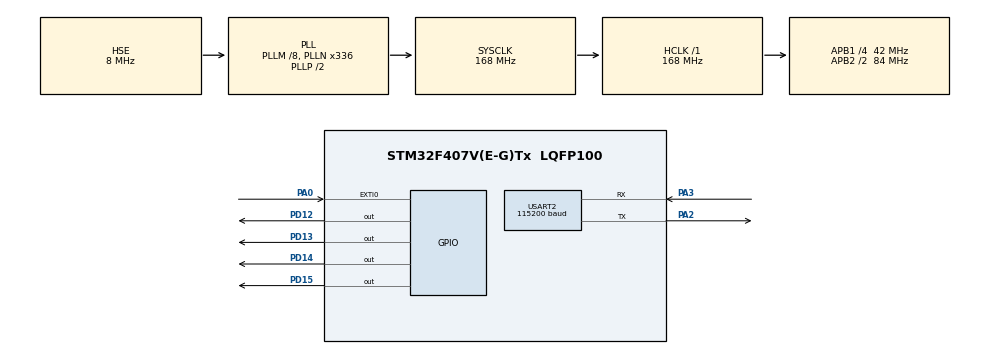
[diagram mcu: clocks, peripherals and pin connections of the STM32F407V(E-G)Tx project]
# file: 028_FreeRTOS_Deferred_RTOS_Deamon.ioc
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FREERTOS.Tasks01=defaultTask,24,128,StartDefaultTask,Default,NULL,Dynamic,NULL,NULL
FREERTOS.configUSE_NEWLIB_REENTRANT=1
Mcu.Family=STM32F4
Mcu.Name=STM32F407V(E-G)Tx
Mcu.Package=LQFP100
NVIC.EXTI0_IRQn=true\:5\:0\:false\:false\:true\:true\:true\:true\:true
NVIC.PriorityGroup=NVIC_PRIORITYGROUP_4
NVIC.TIM8_TRG_COM_TIM14_IRQn=true\:15\:0\:false\:false\:true\:false\:false\:true\:true
NVIC.TimeBase=TIM8_TRG_COM_TIM14_IRQn
NVIC.TimeBaseIP=TIM14
NVIC.USART2_IRQn=true\:5\:0\:false\:false\:true\:true\:true\:true\:true
PA0-WKUP.Signal=GPXTI0
PA2.Mode=Asynchronous
PA2.Signal=USART2_TX
PA3.Mode=Asynchronous
PA3.Signal=USART2_RX
PD12.Signal=GPIO_Output
PD13.Signal=GPIO_Output
PD14.Signal=GPIO_Output
PD15.Signal=GPIO_Output
PH0-OSC_IN.Mode=HSE-External-Oscillator
PH0-OSC_IN.Signal=RCC_OSC_IN
PH1-OSC_OUT.Mode=HSE-External-Oscillator
PH1-OSC_OUT.Signal=RCC_OSC_OUT
ProjectManager.HeapSize=0x200
ProjectManager.StackSize=0x400
ProjectManager.TargetToolchain=STM32CubeIDE
RCC.48MHZClocksFreq_Value=48000000
RCC.AHBFreq_Value=168000000
RCC.APB1CLKDivider=RCC_HCLK_DIV4
RCC.APB1Freq_Value=42000000
RCC.APB1TimFreq_Value=84000000
RCC.APB2CLKDivider=RCC_HCLK_DIV2
RCC.APB2Freq_Value=84000000
RCC.APB2TimFreq_Value=168000000
RCC.CortexFreq_Value=168000000
RCC.HCLKFreq_Value=168000000
RCC.HSE_VALUE=8000000
RCC.HSI_VALUE=16000000
RCC.LSE_VALUE=32768
RCC.PLLM=8
RCC.PLLN=336
RCC.PLLQ=7
RCC.PLLSourceVirtual=RCC_PLLSOURCE_HSE
RCC.SYSCLKFreq_VALUE=168000000
RCC.SYSCLKSource=RCC_SYSCLKSOURCE_PLLCLK
RCC.VCOOutputFreq_Value=336000000
USART2.BaudRate=115200
USART2.VirtualMode=VM_ASYNC
VP_FREERTOS_VS_CMSIS_V2.Mode=CMSIS_V2
VP_SYS_VS_tim14.Mode=TIM14
board=STM32F407G-DISC1

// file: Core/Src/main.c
/* USER CODE BEGIN Header */
/**
  ******************************************************************************
  * @file           : main.c
  * @brief          : Main program body
  ******************************************************************************
  * @attention
  *
  * Copyright (c) 2023 STMicroelectronics.
  * All rights reserved.
  *
  * This software is licensed under terms that can be found in the LICENSE file
  * in the root directory of this software component.
  * If no LICENSE file comes with this software, it is provided AS-IS.
  *
  ******************************************************************************
  */
/* USER CODE END Header */
#include "main.h"

/* USER CODE BEGIN Includes */
#include "FreeRTOS.h"
#include "task.h"
#include "queue.h"
#include <string.h>
#include <stdio.h>
#include "timers.h"
/* USER CODE END Includes */

UART_HandleTypeDef huart2;

/* Definitions for defaultTask */

void SystemClock_Config(void);
static void MX_GPIO_Init(void);
static void MX_USART2_UART_Init(void);
void StartDefaultTask(void *argument);

/* USER CODE BEGIN 0 */
static void vDeferredHandlingFunction(void *pvParameter1, uint32_t ulParameter2)
{
	char buffer[80];
	sprintf(buffer, "RTOS Deamon Handler Function - Processing event : %ld", ulParameter2);
	HAL_UART_Transmit(&huart2, (uint8_t *)buffer, strlen(buffer), HAL_MAX_DELAY);
}
void HAL_GPIO_EXTI_Callback(uint16_t GPIO_Pin)
{
  if(GPIO_Pin == GPIO_PIN_0)
  {
	  static uint32_t ulParameterValue = 0;
	  BaseType_t xHigherPriorityTaskWoken = pdFALSE;

	  xTimerPendFunctionCallFromISR(vDeferredHandlingFunction, NULL, ulParameterValue, &xHigherPriorityTaskWoken);
	  ulParameterValue++;

	  portYIELD_FROM_ISR(xHigherPriorityTaskWoken);
  }
}
/* USER CODE END 0 */

int main(void)
{

  /* MCU Configuration--------------------------------------------------------*/

  /* Reset of all peripherals, Initializes the Flash interface and the Systick. */
  HAL_Init();

  /* Configure the system clock */
  SystemClock_Config();

  /* Initialize all configured peripherals */
  MX_GPIO_Init();
  MX_USART2_UART_Init();
  /* USER CODE BEGIN 2 */
  vTaskStartScheduler();
  /* USER CODE END 2 */

  /* Init scheduler */

  /* Create the thread(s) */
  /* creation of defaultTask */

  /* Start scheduler */

  /* We should never get here as control is now taken by the scheduler */
  /* Infinite loop */
  while (1)
  {

  }
}

void SystemClock_Config(void)
{
  RCC_OscInitTypeDef RCC_OscInitStruct = {0};
  RCC_ClkInitTypeDef RCC_ClkInitStruct = {0};

  /** Configure the main internal regulator output voltage
  */
  __HAL_RCC_PWR_CLK_ENABLE();
  __HAL_PWR_VOLTAGESCALING_CONFIG(PWR_REGULATOR_VOLTAGE_SCALE1);

  /** Initializes the RCC Oscillators according to the specified parameters
  * in the RCC_OscInitTypeDef structure.
  */
  RCC_OscInitStruct.OscillatorType = RCC_OSCILLATORTYPE_HSE;
  RCC_OscInitStruct.HSEState = RCC_HSE_ON;
  RCC_OscInitStruct.PLL.PLLState = RCC_PLL_ON;
  RCC_OscInitStruct.PLL.PLLSource = RCC_PLLSOURCE_HSE;
  RCC_OscInitStruct.PLL.PLLM = 8;
  RCC_OscInitStruct.PLL.PLLN = 336;
  RCC_OscInitStruct.PLL.PLLP = RCC_PLLP_DIV2;
  RCC_OscInitStruct.PLL.PLLQ = 7;
  if (HAL_RCC_OscConfig(&RCC_OscInitStruct) != HAL_OK)
  {
    Error_Handler();
  }

  /** Initializes the CPU, AHB and APB buses clocks
  */
  RCC_ClkInitStruct.ClockType = RCC_CLOCKTYPE_HCLK|RCC_CLOCKTYPE_SYSCLK
                              |RCC_CLOCKTYPE_PCLK1|RCC_CLOCKTYPE_PCLK2;
  RCC_ClkInitStruct.SYSCLKSource = RCC_SYSCLKSOURCE_PLLCLK;
  RCC_ClkInitStruct.AHBCLKDivider = RCC_SYSCLK_DIV1;
  RCC_ClkInitStruct.APB1CLKDivider = RCC_HCLK_DIV4;
  RCC_ClkInitStruct.APB2CLKDivider = RCC_HCLK_DIV2;

  if (HAL_RCC_ClockConfig(&RCC_ClkInitStruct, FLASH_LATENCY_5) != HAL_OK)
  {
    Error_Handler();
  }
}

static void MX_USART2_UART_Init(void)
{

  huart2.Instance = USART2;
  huart2.Init.BaudRate = 115200;
  huart2.Init.WordLength = UART_WORDLENGTH_8B;
  huart2.Init.StopBits = UART_STOPBITS_1;
  huart2.Init.Parity = UART_PARITY_NONE;
  huart2.Init.Mode = UART_MODE_TX_RX;
  huart2.Init.HwFlowCtl = UART_HWCONTROL_NONE;
  huart2.Init.OverSampling = UART_OVERSAMPLING_16;
  if (HAL_UART_Init(&huart2) != HAL_OK)
  {
    Error_Handler();
  }

}

static void MX_GPIO_Init(void)
{
  GPIO_InitTypeDef GPIO_InitStruct = {0};

  /* GPIO Ports Clock Enable */
  __HAL_RCC_GPIOH_CLK_ENABLE();
  __HAL_RCC_GPIOA_CLK_ENABLE();
  __HAL_RCC_GPIOD_CLK_ENABLE();

  /*Configure GPIO pin Output Level */
  HAL_GPIO_WritePin(GPIOD, GPIO_PIN_12|GPIO_PIN_13|GPIO_PIN_14|GPIO_PIN_15, GPIO_PIN_RESET);

  /*Configure GPIO pin : PA0 */
  GPIO_InitStruct.Pin = GPIO_PIN_0;
  GPIO_InitStruct.Mode = GPIO_MODE_IT_RISING;
  GPIO_InitStruct.Pull = GPIO_NOPULL;
  HAL_GPIO_Init(GPIOA, &GPIO_InitStruct);

  /*Configure GPIO pins : PD12 PD13 PD14 PD15 */
  GPIO_InitStruct.Pin = GPIO_PIN_12|GPIO_PIN_13|GPIO_PIN_14|GPIO_PIN_15;
  GPIO_InitStruct.Mode = GPIO_MODE_OUTPUT_PP;
  GPIO_InitStruct.Pull = GPIO_NOPULL;
  GPIO_InitStruct.Speed = GPIO_SPEED_FREQ_LOW;
  HAL_GPIO_Init(GPIOD, &GPIO_InitStruct);

  /* EXTI interrupt init*/
  HAL_NVIC_SetPriority(EXTI0_IRQn, 5, 0);
  HAL_NVIC_EnableIRQ(EXTI0_IRQn);

}

void HAL_TIM_PeriodElapsedCallback(TIM_HandleTypeDef *htim)
{
  if (htim->Instance == TIM14) {
    HAL_IncTick();
  }
}

void Error_Handler(void)
{
  __disable_irq();
  while (1)
  {
  }
}
